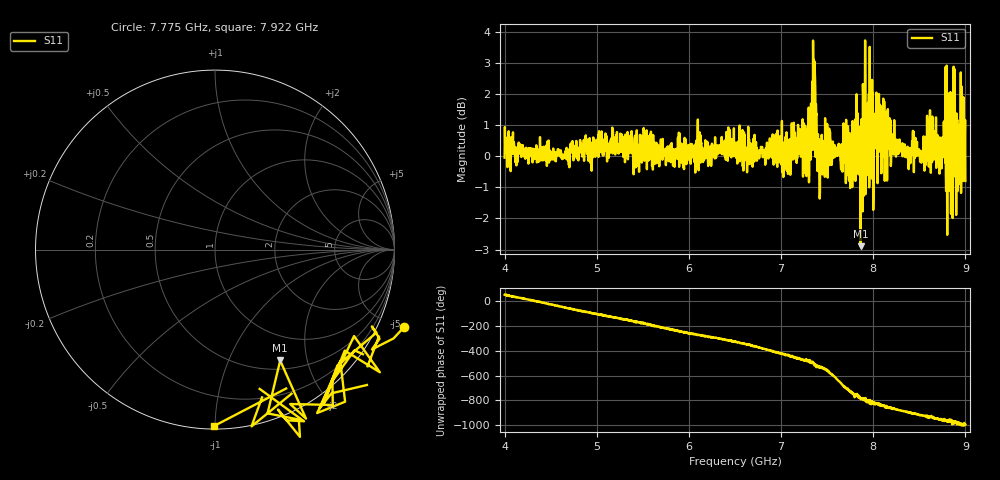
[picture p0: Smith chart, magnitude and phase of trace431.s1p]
! Created with skrf 1.8.0 (http://scikit-rf.org).
# Hz S RI R 50.0
!freq ReS11 ImS11
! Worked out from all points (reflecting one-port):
!   1601 points, 4 GHz to 9 GHz, reference 50 ohm
!   lowest |S11| = -2.9 dB at 7.862 GHz (marker M1), VSWR 6.06, Z = 30.9 - j78.5 ohm
!   phase of S11 starts at 51 deg and turns -1044 deg over the sweep
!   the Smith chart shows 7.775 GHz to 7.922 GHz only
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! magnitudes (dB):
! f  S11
! 4 GHz  -0.1
! 4.625 GHz  -0.1
! 5.25 GHz  0.4
! 5.875 GHz  -0.1
! 6.5 GHz  0.3
! 7.125 GHz  0.6
! 7.281 GHz  0.5
! 7.359 GHz  2.2
! 7.388 GHz  0.5
! 7.4 GHz  0.7
! 7.438 GHz  -0.1
! 7.509 GHz  0.4
! 7.75 GHz  -1.0
! 7.828 GHz  1.4
! 7.862 GHz  -2.9
! 7.881 GHz  0.6
! 7.891 GHz  2.0
! 7.928 GHz  1.3
! 7.981 GHz  0.0
! 8.05 GHz  1.5
! 8.375 GHz  -0.1
! 8.531 GHz  0.1
! 8.631 GHz  0.4
! 8.725 GHz  0.4
! 8.772 GHz  0.3
! 8.919 GHz  -0.3
! 8.972 GHz  0.9
! 9 GHz  -0.8
